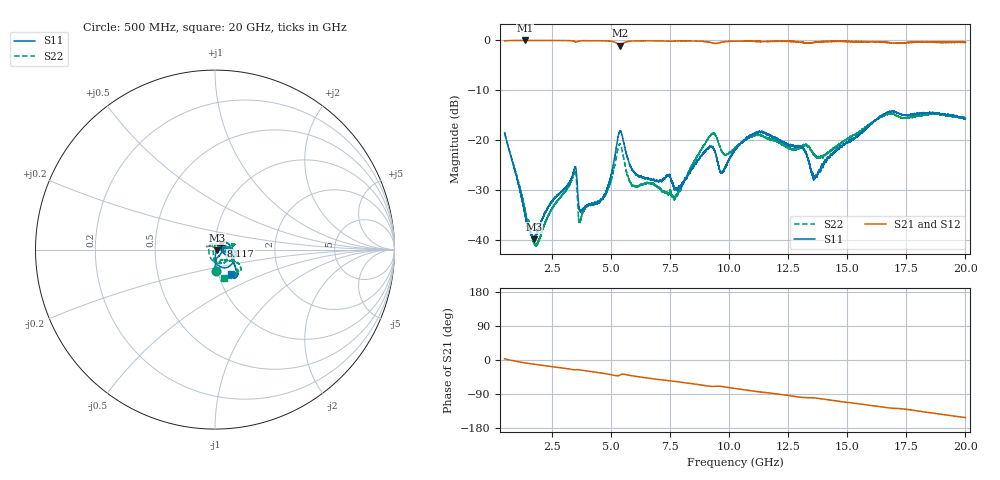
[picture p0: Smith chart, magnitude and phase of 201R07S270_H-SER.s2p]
!{201R07S270}
!Johanson Technology Inc.
!www.johansontechnology.com
!Test Board Conditions:
!Substrate Type  RO4350B
!Substrate Thickness  10 mil
!Substrate Dk  3.66
!TL Type: GCPW
!TL Trace Width  21 mil
!TL Gap  20 mil
!Electrode orientation  Horizontal
!DUT TOPOLOGY	SERIES
!Mounting Pad LxW  16x21 mil
!Agilent Technologies,N5230A,MY45001966,A.07.50.67
!Agilent N5230A: A.07.50.67
! Created Mon Mar  9 16:11:19 2020
# mhz S ma R 50
! 2 Port Network Data from SP1.SP block
! freq  magS11  angS11  magS21  angS21  magS12  angS12  magS22  angS22
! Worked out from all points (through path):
!   19501 points, 500 MHz to 20 GHz, reference 50 ohm
!   highest |S21| = -0.01 dB at 1.364 GHz (marker M1); lowest = -1.0 dB at 5.381 GHz (marker M2)
!   group delay of S21, straight-line fit = 21.2 ps
!   lowest |S11| = -39.9 dB at 1.732 GHz (marker M3), VSWR 1.02, Z = 51 - j0.34 ohm
!   |S11| at or under -10 dB: start of sweep to end of sweep
!   |S22| runs from -41.3 to -14.6 dB; largest |S21 - S12| = 0.015
!   S11 on the Smith chart (normalised r, x): 500 MHz: 0.99, -0.24; 8.117 GHz: 1.07, +0.05; 20 GHz: 1.15, -0.32
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500  0.1184 -86.2  0.9913 3.6  0.9925 3.6  0.1197 -86.9
1364  0.01817 -72.4  0.9992 -7.6  0.9978 -7.7  0.01986 -118.5
1732  0.01016 -19.1  0.9986 -11.0  0.9982 -11.0  0.009594 -165.6
3437  0.05039 39.2  0.9824 -25.9  0.9824 -25.9  0.04697 49.4
3663  0.02024 11.2  0.9873 -25.8  0.9873 -25.8  0.01504 29.6
3750  0.01957 29.8  0.9922 -26.8  0.992 -26.8  0.01695 51.8
4721  0.02815 26.2  0.9916 -35.6  0.9906 -35.6  0.02751 56.0
5381  0.1235 -39.7  0.8877 -39.6  0.8879 -39.5  0.09123 -39.3
5883  0.05142 -81.3  0.9836 -41.4  0.9839 -41.4  0.03537 -163.5
7000  0.03865 -26.6  0.9914 -51.4  0.9908 -51.5  0.03375 106.5
7428  0.04417 -0.3  0.9815 -54.8  0.9828 -54.9  0.02877 44.7
7680  0.03289 6.8  0.9855 -56.3  0.9845 -56.3  0.0258 33.4
8117  0.0397 36.1  0.9887 -59.9  0.9895 -60.0  0.04013 10.9
9278  0.08555 5.5  0.9459 -69.7  0.9449 -69.6  0.1156 -21.3
9689  0.04815 -0.3  0.9603 -69.9  0.9593 -69.9  0.07726 -31.9
10250  0.08048 8.6  0.981 -75.1  0.981 -75.1  0.0843 -0.7
11457  0.1178 -17.4  0.9758 -85.3  0.9738 -85.2  0.1074 15.6
13092  0.08434 -16.7  0.9564 -98.6  0.9548 -98.8  0.08635 -37.8
13500  0.04622 -18.9  0.9485 -99.7  0.9477 -99.6  0.07756 -68.9
13902  0.05284 14.5  0.9733 -102.5  0.9715 -102.7  0.06855 -59.1
16750  0.1915 -50.9  0.9531 -126.0  0.9461 -126.1  0.1838 -38.5
20000  0.1626 -56.2  0.9538 -151.9  0.9539 -151.7  0.1661 -73.2
